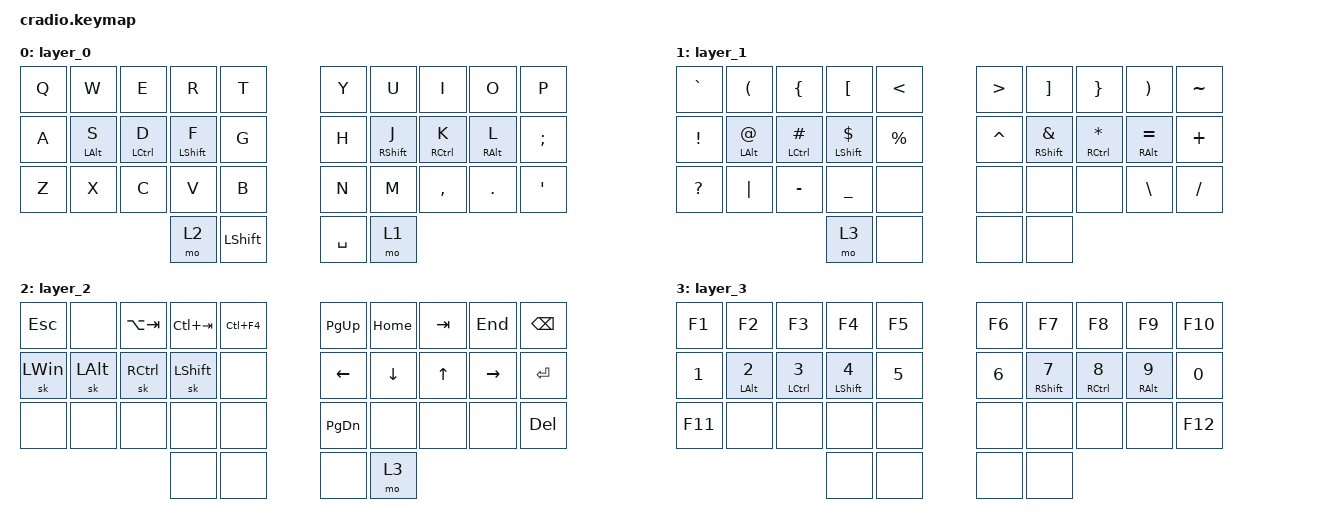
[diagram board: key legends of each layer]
#include <behaviors.dtsi>
#include <dt-bindings/zmk/keys.h>

&mt { tapping-term-ms = <120>; };

/ {
    behaviors {
        hm: homerow_mods {
            compatible = "zmk,behavior-hold-tap";
            #binding-cells = <2>;
            tapping-term-ms = <200>;
            quick-tap-ms = <0>;
            flavor = "tap-preferred";
            bindings = <&kp>, <&kp>;
        };
    };

    combos {
        compatible = "zmk,combos";

        a_semi_to_escape {
            timeout-ms = <50>;  // Adjust if needed
            key-positions = <10 19>;  // A (10) + SEMI (19)
            bindings = <&kp ESC>;
        };
        q_p_capslock {
            timeout-ms = <50>;  // Adjust timing if needed
            key-positions = <0 9>;  // Replace with the correct positions for Q and P
            bindings = <&kp CAPS>;
        };
        i_o_backspace {
            timeout-ms = <50>;  // Adjust timing if needed
            key-positions = <7 8>;  // Replace with the correct positions for I and O
            bindings = <&kp BACKSPACE>;
        };
        k_l_enter {
            timeout-ms = <50>;  // Adjust timing if needed
            key-positions = <17 18>;  // Replace with the correct positions for K and L
            bindings = <&kp ENTER>;
        };
    };

    keymap {
        compatible = "zmk,keymap";

        layer_0 {
            bindings = <
&kp Q  &kp W       &kp E        &kp R            &kp T                       &kp Y      &kp U                    &kp I        &kp O      &kp P
&kp A  &hm LALT S  &hm LCTRL D  &hm LEFT_SHIFT F &kp G                       &kp H      &hm RIGHT_SHIFT J        &hm RCTRL K  &hm RALT L &kp SEMI
&kp Z  &kp X       &kp C        &kp V            &kp B                       &kp N      &kp M                    &kp COMMA    &kp DOT    &kp SQT
                                &mo 2            &kp LEFT_SHIFT              &kp SPACE  &mo 1
            >;
        };

        layer_1 {
            bindings = <
&kp GRAVE        &kp LEFT_PARENTHESIS  &kp LEFT_BRACE &kp LBKT              &kp LT             &kp GT    &kp RBKT              &kp RIGHT_BRACE &kp RIGHT_PARENTHESIS &kp TILDE 
&kp EXCLAMATION  &hm LALT AT_SIGN      &hm LCTRL HASH &hm LEFT_SHIFT DOLLAR &kp PERCENT        &kp CARET &hm RIGHT_SHIFT AMPS  &hm RCTRL ASTRK &hm RALT EQUAL        &kp PLUS
&kp QMARK        &kp PIPE              &kp MINUS      &kp UNDER             &none              &none     &none                 &none           &kp BSLH              &kp FSLH
                                                      &mo 3                 &none              &none     &none
            >;
        };

        layer_2 {
            bindings = <
&kp ESC       &none        &kp LA(TAB) &kp LC(TAB)     &kp LC(F4)        &kp PAGE_UP    &kp HOME        &kp TAB       &kp END          &kp BACKSPACE
&sk LEFT_WIN &sk LEFT_ALT &sk RCTRL   &sk LEFT_SHIFT  &none             &kp LEFT       &kp DOWN_ARROW  &kp UP_ARROW  &kp RIGHT_ARROW  &kp ENTER
&none        &none        &none       &none           &none             &kp PAGE_DOWN  &none           &none         &none            &kp DELETE
                                      &none           &none             &none          &mo 3
            >;
        };

        layer_3 {
            bindings = <
&kp F1  &kp F2      &kp F3       &kp F4       &kp F5        &kp F6  &kp F7        &kp F8        &kp F9       &kp F10
&kp N1  &hm LALT N2 &hm LCTRL N3 &hm LSHFT N4 &kp N5        &kp N6  &hm RSHFT N7  &hm RCTRL N8  &hm RALT N9  &kp N0
&kp F11 &none       &none        &none        &none         &none   &none         &none         &none        &kp F12
                                 &none        &none         &none   &none
            >;
        };
    };
};
